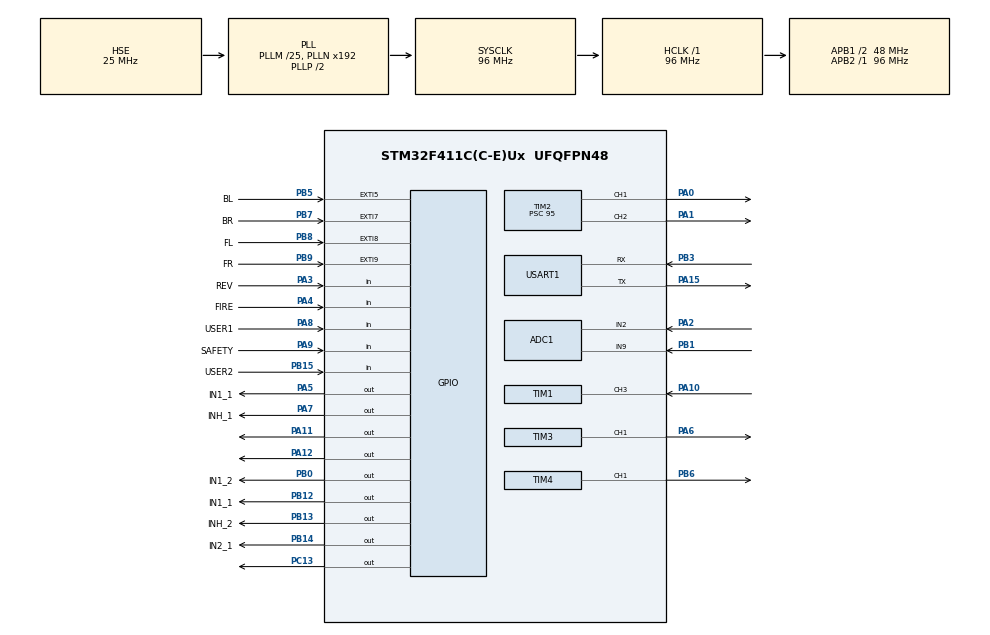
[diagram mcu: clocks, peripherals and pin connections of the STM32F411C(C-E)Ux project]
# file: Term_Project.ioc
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ADC1.Channel-0\#ChannelRegularConversion=ADC_CHANNEL_9
ADC1.ContinuousConvMode=ENABLE
ADC1.NbrOfConversion=1
ADC1.NbrOfConversionFlag=1
ADC1.ScanConvMode=ENABLE
ADC1.master=1
Dma.Request0=TIM3_CH1/TRIG
Dma.TIM3_CH1/TRIG.0.Direction=DMA_MEMORY_TO_PERIPH
Dma.TIM3_CH1/TRIG.0.FIFOMode=DMA_FIFOMODE_DISABLE
Dma.TIM3_CH1/TRIG.0.Instance=DMA1_Stream4
Dma.TIM3_CH1/TRIG.0.MemDataAlignment=DMA_MDATAALIGN_HALFWORD
Dma.TIM3_CH1/TRIG.0.MemInc=DMA_MINC_ENABLE
Dma.TIM3_CH1/TRIG.0.Mode=DMA_NORMAL
Dma.TIM3_CH1/TRIG.0.PeriphDataAlignment=DMA_PDATAALIGN_HALFWORD
Dma.TIM3_CH1/TRIG.0.PeriphInc=DMA_PINC_DISABLE
Dma.TIM3_CH1/TRIG.0.Priority=DMA_PRIORITY_LOW
Mcu.Family=STM32F4
Mcu.Name=STM32F411C(C-E)Ux
Mcu.Package=UFQFPN48
NVIC.DMA1_Stream4_IRQn=true\:0\:0\:false\:false\:true\:false\:true\:true
NVIC.EXTI9_5_IRQn=true\:0\:0\:false\:false\:true\:true\:true\:true
NVIC.PriorityGroup=NVIC_PRIORITYGROUP_4
NVIC.TIM1_CC_IRQn=true\:0\:0\:false\:false\:true\:true\:true\:true
PA0-WKUP.Signal=S_TIM2_CH1_ETR
PA1.Signal=S_TIM2_CH2
PA10.Signal=S_TIM1_CH3
PA11.PinState=GPIO_PIN_RESET
PA11.Signal=GPIO_Output
PA12.Signal=GPIO_Output
PA15.Mode=Asynchronous
PA15.Signal=USART1_TX
PA2.GPIO_Mode=GPIO_MODE_ANALOG
PA2.GPIO_PuPd=GPIO_NOPULL
PA2.Signal=ADCx_IN2
PA3.GPIO_Label=REV
PA3.GPIO_PuPd=GPIO_PULLUP
PA3.Signal=GPIO_Input
PA4.GPIO_Label=FIRE
PA4.GPIO_PuPd=GPIO_PULLUP
PA4.Signal=GPIO_Input
PA5.GPIO_Label=IN1_1
PA5.Signal=GPIO_Output
PA6.Signal=S_TIM3_CH1
PA7.GPIO_Label=INH_1
PA7.PinState=GPIO_PIN_RESET
PA7.Signal=GPIO_Output
PA8.GPIO_Label=USER1
PA8.GPIO_PuPd=GPIO_PULLUP
PA8.Signal=GPIO_Input
PA9.GPIO_Label=SAFETY
PA9.GPIO_PuPd=GPIO_PULLUP
PA9.Signal=GPIO_Input
PB0.GPIO_Label=IN1_2
PB0.Signal=GPIO_Output
PB1.GPIO_Mode=GPIO_MODE_ANALOG
PB1.GPIO_PuPd=GPIO_NOPULL
PB1.Signal=ADCx_IN9
PB12.GPIO_Label=IN1_1
PB12.Signal=GPIO_Output
PB13.GPIO_Label=INH_2
PB13.Signal=GPIO_Output
PB14.GPIO_Label=IN2_1
PB14.Signal=GPIO_Output
PB15.GPIO_Label=USER2
PB15.GPIO_PuPd=GPIO_PULLUP
PB15.Signal=GPIO_Input
PB3.Mode=Asynchronous
PB3.Signal=USART1_RX
PB5.GPIO_Label=BL
PB5.GPIO_ModeDefaultEXTI=GPIO_MODE_IT_FALLING
PB5.Signal=GPXTI5
PB6.Signal=S_TIM4_CH1
PB7.GPIO_Label=BR
PB7.GPIO_ModeDefaultEXTI=GPIO_MODE_IT_FALLING
PB7.GPIO_PuPd=GPIO_PULLUP
PB7.Signal=GPXTI7
PB8.GPIO_Label=FL
PB8.GPIO_ModeDefaultEXTI=GPIO_MODE_IT_FALLING
PB8.Signal=GPXTI8
PB9.GPIO_Label=FR
PB9.GPIO_ModeDefaultEXTI=GPIO_MODE_IT_FALLING
PB9.Signal=GPXTI9
PC13-ANTI_TAMP.Signal=GPIO_Output
PH0\ -\ OSC_IN.Mode=HSE-External-Oscillator
PH0\ -\ OSC_IN.Signal=RCC_OSC_IN
PH1\ -\ OSC_OUT.Mode=HSE-External-Oscillator
PH1\ -\ OSC_OUT.Signal=RCC_OSC_OUT
ProjectManager.HeapSize=0x200
ProjectManager.StackSize=0x400
ProjectManager.TargetToolchain=STM32CubeIDE
RCC.48MHZClocksFreq_Value=48000000
RCC.AHBFreq_Value=96000000
RCC.APB1CLKDivider=RCC_HCLK_DIV2
RCC.APB1Freq_Value=48000000
RCC.APB1TimFreq_Value=96000000
RCC.APB2Freq_Value=96000000
RCC.APB2TimFreq_Value=96000000
RCC.CortexFreq_Value=96000000
RCC.HCLKFreq_Value=96000000
RCC.HSE_VALUE=25000000
RCC.HSI_VALUE=16000000
RCC.LSE_VALUE=32768
RCC.PLLM=25
RCC.PLLSourceVirtual=RCC_PLLSOURCE_HSE
RCC.SYSCLKFreq_VALUE=96000000
RCC.SYSCLKSource=RCC_SYSCLKSOURCE_PLLCLK
RCC.VCOOutputFreq_Value=192000000
SH.ADCx_IN2.0=ADC1_IN2,IN2
SH.ADCx_IN9.0=ADC1_IN9,IN9
SH.S_TIM1_CH3.0=TIM1_CH3,Input_Capture3_from_TI3
SH.S_TIM2_CH1_ETR.0=TIM2_CH1,PWM Generation1 CH1
SH.S_TIM2_CH2.0=TIM2_CH2,PWM Generation2 CH2
SH.S_TIM3_CH1.0=TIM3_CH1,PWM Generation1 CH1
SH.S_TIM4_CH1.0=TIM4_CH1,PWM Generation1 CH1
TIM1.Channel-Input_Capture3_from_TI3=TIM_CHANNEL_3
TIM1.ICPolarity_CH3=TIM_INPUTCHANNELPOLARITY_BOTHEDGE
TIM1.Prescaler=95
TIM2.Channel-PWM\ Generation1\ CH1=TIM_CHANNEL_1
TIM2.Channel-PWM\ Generation2\ CH2=TIM_CHANNEL_2
TIM2.Period=19999
TIM2.Prescaler=95
TIM2.Pulse-PWM\ Generation1\ CH1=1999
TIM2.Pulse-PWM\ Generation2\ CH2=1999
TIM3.Channel-PWM\ Generation1\ CH1=TIM_CHANNEL_1
TIM3.Period=119
TIM4.Channel-PWM\ Generation1\ CH1=TIM_CHANNEL_1
USART1.VirtualMode=VM_ASYNC
VP_TIM2_VS_ClockSourceINT.Mode=Internal
board=custom

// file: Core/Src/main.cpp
/* USER CODE BEGIN Header */
/**
  ******************************************************************************
  * @file           : main.cpp
  * @brief          : Main program body
  ******************************************************************************
  * @attention
  *
  * Copyright (c) 2024 STMicroelectronics.
  * All rights reserved.
  *
  * This software is licensed under terms that can be found in the LICENSE file
  * in the root directory of this software component.
  * If no LICENSE file comes with this software, it is provided AS-IS.
  *
  ******************************************************************************
  */
/* USER CODE END Header */
#include "main.h"

/* USER CODE BEGIN Includes */
#include "string.h"
#include "stm32f4xx_hal.h"
#include "RCReceiver.h"
#include <cstdio>
/* USER CODE END Includes */

ADC_HandleTypeDef hadc1;

TIM_HandleTypeDef htim1;
TIM_HandleTypeDef htim2;
TIM_HandleTypeDef htim3;
TIM_HandleTypeDef htim4;
DMA_HandleTypeDef hdma_tim3_ch1_trig;

UART_HandleTypeDef huart1;

/* USER CODE BEGIN PV */

// LED variables
#define MAX_LED 12
#define USE_BRIGHTNESS 0
uint8_t LED_Data[MAX_LED][4];
uint8_t LED_Mod[MAX_LED][4];
uint16_t pwmData[(24*MAX_LED)+50];
volatile int datasentflag = 1;

// Motor variables
uint8_t startup = 0;
uint8_t rev_flag = 0;
uint16_t rev_tick = 0;

// Shoot variables
uint16_t dart_counter = 0;
uint16_t idx = 1;
uint8_t last_fired = 0;

// Mode variables
// Timer that updates every while loop iteration
uint16_t curr_tick;
// Handles trigger logic=
uint8_t trigger_tick = 0;
uint8_t trigger_flag = 0;
// Handles shooting logic
uint16_t shoot_flag = 0;
uint16_t shoot_state = 4; // Start in safety
uint16_t shoot_tick = 0;
// Handles mode selection
uint8_t mode_state = 0;
uint8_t mode_flag = 0;
uint16_t mode_tick = 0;
uint8_t left_state = 0;
uint8_t alt_state = 0;
uint8_t both_state = 0;
uint8_t right_state = 0;
// Timing for each solenoid
uint16_t left_tick;
uint16_t right_tick;

// ADC variables
uint16_t adc_value_9;
uint16_t adc_value_2;
uint16_t Fire_Rate;
uint16_t counts = 1600;

// User interface variables
// Handles type selection
uint8_t type = 0;
uint8_t type_tick = 0;
uint16_t type_list[] = {1,4,500}; // Dart capacities for each type
uint8_t type_flag = 0;

// RCReceiver object
RCReceiver receiver1(&htim1, TIM_CHANNEL_3);
int16_t signal1 = 1500;

// UART Message for Debugging
char msg[100];

// ADC Channel selection functions
/**
 * @brief Select ADC Channel 9
 */
static void ADC_Select_CH9(void) {
    ADC_ChannelConfTypeDef sConfig = {0};
    /**
     * Configure for the selected ADC regular channel its corresponding rank in the sequencer and its sample time.
     */
    sConfig.Channel = ADC_CHANNEL_9;
    sConfig.Rank = 1;
    sConfig.SamplingTime = ADC_SAMPLETIME_3CYCLES;
    if (HAL_ADC_ConfigChannel(&hadc1, &sConfig) != HAL_OK) {
        Error_Handler();
    }
}

/**
 * @brief Select ADC Channel 2
 */
static void ADC_Select_CH2(void) {
    ADC_ChannelConfTypeDef sConfig = {0};
    /**
     * Configure for the selected ADC regular channel its corresponding rank in the sequencer and its sample time.
     */
    sConfig.Channel = ADC_CHANNEL_2;
    sConfig.Rank = 1;
    sConfig.SamplingTime = ADC_SAMPLETIME_3CYCLES;
    if (HAL_ADC_ConfigChannel(&hadc1, &sConfig) != HAL_OK) {
        Error_Handler();
    }
}

/* USER CODE END PV */

void SystemClock_Config(void);
static void MX_GPIO_Init(void);
static void MX_DMA_Init(void);
static void MX_TIM2_Init(void);
static void MX_TIM3_Init(void);
static void MX_TIM4_Init(void);
static void MX_ADC1_Init(void);
static void MX_USART1_UART_Init(void);
static void MX_TIM1_Init(void);

int main(void)
{

  /* MCU Configuration--------------------------------------------------------*/

  /* Reset of all peripherals, Initializes the Flash interface and the Systick. */
  HAL_Init();

  /* Configure the system clock */
  SystemClock_Config();

  /* Initialize all configured peripherals */
  MX_GPIO_Init();
  MX_DMA_Init();
  MX_TIM2_Init();
  MX_TIM3_Init();
  MX_TIM4_Init();
  MX_ADC1_Init();
  MX_USART1_UART_Init();
  MX_TIM1_Init();
  /* USER CODE BEGIN 2 */

  // Initializations
  HAL_TIM_PWM_Start(&htim2,TIM_CHANNEL_1);
  HAL_TIM_PWM_Start(&htim2,TIM_CHANNEL_2);
  HAL_TIM_PWM_Start(&htim4,TIM_CHANNEL_1);
  HAL_TIM_IC_Start_IT(&htim1, TIM_CHANNEL_3);
  HAL_ADC_Start(&hadc1);
  HAL_ADC_Init(&hadc1);

  // Set the solenoid pin states
  HAL_GPIO_WritePin(GPIOA,GPIO_PIN_5,GPIO_PIN_SET);
  HAL_GPIO_WritePin(GPIOB,GPIO_PIN_0,GPIO_PIN_RESET);
  HAL_GPIO_WritePin(GPIOB,GPIO_PIN_14,GPIO_PIN_SET);
  HAL_GPIO_WritePin(GPIOB,GPIO_PIN_12,GPIO_PIN_RESET);

  // Disable solenoids to start
  HAL_GPIO_WritePin(GPIOA,GPIO_PIN_7,GPIO_PIN_RESET);
  HAL_GPIO_WritePin(GPIOB,GPIO_PIN_13,GPIO_PIN_RESET);

  // Initialize LEDs in safety mode
  LED_Safety(mode_state,type);

  /* USER CODE END 2 */

  /* Infinite loop */
  while (1) {

    /* USER CODE BEGIN 3 */

	  // Get time elapsed every loop
	  curr_tick = HAL_GetTick();

//	  // UART debugging
//	  snprintf(msg, sizeof(msg), "BL: %i BR: %i FL: %i FR: %i  \n\r",!HAL_GPIO_ReadPin(GPIOB,GPIO_PIN_5), !HAL_GPIO_ReadPin(GPIOB,GPIO_PIN_7),
//			  	  	  	  	  	  	  	  	  	  	  	  	  	  	  	  	  	   !HAL_GPIO_ReadPin(GPIOB,GPIO_PIN_8), !HAL_GPIO_ReadPin(GPIOB,GPIO_PIN_9));
//	  HAL_UART_Transmit(&huart1, (uint8_t*)msg, 100,500);
//	  memset(msg,0, sizeof msg);

	  // ESC Startup Procedure
	  if (!startup) {
		  __HAL_TIM_SET_COMPARE(&htim2,TIM_CHANNEL_1, 1000);
		  __HAL_TIM_SET_COMPARE(&htim2,TIM_CHANNEL_2, 1000);
		  HAL_Delay(3000);

		  startup = 1;
	  }

	  // Rev Trigger Logic
	  if (HAL_GPIO_ReadPin(GPIOA,GPIO_PIN_4) && (HAL_GPIO_ReadPin(GPIOA,GPIO_PIN_9) && !(shoot_state == 4))){
		  // Rev the motors
		  		__HAL_TIM_SET_COMPARE(&htim2,TIM_CHANNEL_1, counts);
		  		__HAL_TIM_SET_COMPARE(&htim2,TIM_CHANNEL_2, counts);
	  }

	  else{
		  __HAL_TIM_SET_COMPARE(&htim2,TIM_CHANNEL_1, 1000);
		  __HAL_TIM_SET_COMPARE(&htim2,TIM_CHANNEL_2, 1000);
	  }

	  // Setting Types (Single, Burst, Auto)
	  if (!HAL_GPIO_ReadPin(GPIOA,GPIO_PIN_8) && type_flag == 0 && HAL_GPIO_ReadPin(GPIOA,GPIO_PIN_9)) {
		  type_flag = 1;
		  type_tick = curr_tick;
		  type++;
		  set_LED_states(mode_state, type);
		  idx = type_list[type%3];

		  }
	  else if(HAL_GPIO_ReadPin(GPIOA,GPIO_PIN_8) && (curr_tick - type_tick) > 250 && type_flag ==1){ //
		  type_flag = 0;

	  }

	  // Setting Modes (L, Both, Alt, R)
	  if (!HAL_GPIO_ReadPin(GPIOB,GPIO_PIN_15) && mode_flag == 0 && HAL_GPIO_ReadPin(GPIOA,GPIO_PIN_9)) {
		  mode_flag = 1;
		  mode_tick = curr_tick;

		  if (mode_state == 3){
			  mode_state = 0;
		  }
		  else{
			  mode_state++;
		  }
		  set_LED_states(mode_state, type);
		  }
	  else if(HAL_GPIO_ReadPin(GPIOB,GPIO_PIN_15) && (curr_tick - mode_tick) > 250 && mode_flag == 1){
		  mode_flag = 0;
	  }

	  // Trigger State Machine
	  // Off state
	  if (shoot_state == 0){
		  if (!HAL_GPIO_ReadPin(GPIOA,GPIO_PIN_9)){
			  shoot_state = 4;
			  LED_Safety(mode_state, type);
		  }
		  if (!HAL_GPIO_ReadPin(GPIOA,GPIO_PIN_3) && HAL_GPIO_ReadPin(GPIOA,GPIO_PIN_9)){
			shoot_state = 1;
			shoot_flag = 1;
			shoot_tick = curr_tick;
		  }
	  }

	  // Rising Edge State
	  else if(shoot_state == 1){
		  if (!HAL_GPIO_ReadPin(GPIOA,GPIO_PIN_9)){
			  shoot_state = 4;
			  LED_Safety(mode_state, type);
		  }
		  else if (curr_tick - shoot_tick > 10){
			  shoot_state = 2;
		  }
	  }

	  // On state
	  else if(shoot_state == 2){
		  if (!HAL_GPIO_ReadPin(GPIOA,GPIO_PIN_9)){
			  shoot_state = 4;
			  LED_Safety(mode_state, type);
		  }
		  else if (HAL_GPIO_ReadPin(GPIOA,GPIO_PIN_3)){
			  shoot_state = 3;
			  shoot_flag = 0;
			  shoot_tick = curr_tick;
		  }
	  }
	  // Falling Edge state
	  else if(shoot_state == 3) {
		  if (!HAL_GPIO_ReadPin(GPIOA,GPIO_PIN_9)){
			  shoot_state = 4;
			  LED_Safety(mode_state, type);
		  }
		  else if (curr_tick - shoot_tick > 10){
			  shoot_state = 0;
			  rev_tick = curr_tick;
		  }
	  }
	  // Safety State
	  else if(shoot_state == 4){
		  shoot_flag = 0;
		  __HAL_TIM_SET_COMPARE(&htim2,TIM_CHANNEL_1, 1000);
		  __HAL_TIM_SET_COMPARE(&htim2,TIM_CHANNEL_2, 1000);
		  HAL_GPIO_WritePin(GPIOB,GPIO_PIN_13, GPIO_PIN_RESET);
		  HAL_GPIO_WritePin(GPIOA,GPIO_PIN_7, GPIO_PIN_RESET);
		  if (HAL_GPIO_ReadPin(GPIOA,GPIO_PIN_9) && HAL_GPIO_ReadPin(GPIOA,GPIO_PIN_3) && (signal1 < 1600 && signal1 > 1400)){
			  shoot_state = 0;
			  set_LED_states(mode_state, type);
		  }

	  }

	  // Fire Trigger Logic
	  if (shoot_flag){

		  // Left State
		  if (mode_state == 0){

			  if (left_state == 0){
				  left_tick = curr_tick;
				  left_state = 1;

			  }
			  else if(left_state == 1){

				  if ((dart_counter < idx) && !HAL_GPIO_ReadPin(GPIOB,GPIO_PIN_5)
						  && ((curr_tick - left_tick) > Fire_Rate+10)){
					  HAL_GPIO_WritePin(GPIOB,GPIO_PIN_13, GPIO_PIN_SET);
					  left_tick = curr_tick;
					  dart_counter += 1;
				  }
				  else if (!HAL_GPIO_ReadPin(GPIOB,GPIO_PIN_8)){
					  HAL_GPIO_WritePin(GPIOB,GPIO_PIN_13, GPIO_PIN_RESET);

				  }
			  }
		  }

		  // Alt State
		  else if (mode_state == 1){
			  if (alt_state == 0){
				  left_tick = curr_tick;
				  right_tick = curr_tick;
				  if (last_fired == 0) {
						  alt_state = 1;
					  }

				  else{
						  alt_state = 2;
					  }

			  }

			  else if (alt_state == 1){

				  HAL_GPIO_WritePin(GPIOB,GPIO_PIN_13, GPIO_PIN_SET);
				  HAL_GPIO_WritePin(GPIOA,GPIO_PIN_7, GPIO_PIN_RESET);
				  last_fired = 1;

				  if (!HAL_GPIO_ReadPin(GPIOB,GPIO_PIN_8) && !HAL_GPIO_ReadPin(GPIOB,GPIO_PIN_7) && (curr_tick-left_tick > Fire_Rate)){
					  dart_counter++;

					  if (dart_counter == idx){
						  alt_state = 3;
					  }
					  else{
					  alt_state = 2;
					  right_tick = curr_tick;

					  }
				  }

			  }

			  else if (alt_state == 2){
				  HAL_GPIO_WritePin(GPIOA,GPIO_PIN_7, GPIO_PIN_SET);
				  HAL_GPIO_WritePin(GPIOB,GPIO_PIN_13, GPIO_PIN_RESET);
				  last_fired = 0;

				  if (!HAL_GPIO_ReadPin(GPIOB,GPIO_PIN_5) && !HAL_GPIO_ReadPin(GPIOB,GPIO_PIN_9) && (curr_tick - right_tick > Fire_Rate)){
					  dart_counter ++;

					  if (dart_counter == idx){
						  alt_state = 3;
					  }
					  else{
					  alt_state = 1;
					  left_tick = curr_tick;
					  }
				  }

			  }

			  else if (alt_state == 3){
				  HAL_GPIO_WritePin(GPIOA,GPIO_PIN_7, GPIO_PIN_RESET);
				  HAL_GPIO_WritePin(GPIOB,GPIO_PIN_13, GPIO_PIN_RESET);

			  }

		  }

		  // Both State
		  else if (mode_state == 2){

			  if (both_state == 0){
				  left_tick = curr_tick;
				  both_state = 1;

			  }

			  else if (both_state == 1){

				  if (dart_counter < (idx) && !HAL_GPIO_ReadPin(GPIOB,GPIO_PIN_7)
					  && !HAL_GPIO_ReadPin(GPIOB,GPIO_PIN_5) && (curr_tick-left_tick) > (Fire_Rate+10)){
					  HAL_GPIO_WritePin(GPIOA,GPIO_PIN_7, GPIO_PIN_SET);
					  HAL_GPIO_WritePin(GPIOB,GPIO_PIN_13, GPIO_PIN_SET);
					  left_tick = curr_tick;
					  dart_counter += 2;
				  }

				  else if (!HAL_GPIO_ReadPin(GPIOB,GPIO_PIN_9) && !HAL_GPIO_ReadPin(GPIOB,GPIO_PIN_8)){
					  HAL_GPIO_WritePin(GPIOA,GPIO_PIN_7, GPIO_PIN_RESET);
					  HAL_GPIO_WritePin(GPIOB,GPIO_PIN_13, GPIO_PIN_RESET);
				  }
			  }
		  }

		  // Right
		  else if (mode_state == 3){

			  if (right_state == 0){
				  right_tick = curr_tick;
				  right_state = 1;
			  }

			  else if (right_state == 1){

				  if ((dart_counter < idx) &&!HAL_GPIO_ReadPin(GPIOB,GPIO_PIN_7) && (curr_tick - right_tick) > Fire_Rate+10){
					  HAL_GPIO_WritePin(GPIOA,GPIO_PIN_7, GPIO_PIN_SET);
					  right_tick = curr_tick;
					  dart_counter += 1;
				  }
				  else if (!HAL_GPIO_ReadPin(GPIOB,GPIO_PIN_9)){
					  HAL_GPIO_WritePin(GPIOA,GPIO_PIN_7, GPIO_PIN_RESET);

				  }
			  }
		  }
	  }

	  else{

		  HAL_GPIO_WritePin(GPIOA,GPIO_PIN_7, GPIO_PIN_RESET);
		  HAL_GPIO_WritePin(GPIOB,GPIO_PIN_13, GPIO_PIN_RESET);
		  dart_counter = 0;
		  alt_state = 0;
		  both_state = 0;
		  left_state = 0;
		  right_state = 0;

		  ADC_Select_CH2();
		  HAL_ADC_Start(&hadc1);
		  HAL_ADC_PollForConversion(&hadc1,50);
		  adc_value_2 = HAL_ADC_GetValue(&hadc1); // Right POT
		  HAL_ADC_Stop(&hadc1);

		  counts = adc_value_2*(1500-1000)/(4096 - 0) + 1000;

		  ADC_Select_CH9();
		  HAL_ADC_Start(&hadc1);
		  HAL_ADC_PollForConversion(&hadc1,50);
		  adc_value_9 = HAL_ADC_GetValue(&hadc1); // Left POT
		  HAL_ADC_Stop(&hadc1);

		  Fire_Rate = (4096-adc_value_9)*100/4096;

	  }

  }
  /* USER CODE END 3 */
}

void SystemClock_Config(void)
{
  RCC_OscInitTypeDef RCC_OscInitStruct = {0};
  RCC_ClkInitTypeDef RCC_ClkInitStruct = {0};

  /** Configure the main internal regulator output voltage
  */
  __HAL_RCC_PWR_CLK_ENABLE();
  __HAL_PWR_VOLTAGESCALING_CONFIG(PWR_REGULATOR_VOLTAGE_SCALE1);

  /** Initializes the RCC Oscillators according to the specified parameters
  * in the RCC_OscInitTypeDef structure.
  */
  RCC_OscInitStruct.OscillatorType = RCC_OSCILLATORTYPE_HSE;
  RCC_OscInitStruct.HSEState = RCC_HSE_ON;
  RCC_OscInitStruct.PLL.PLLState = RCC_PLL_ON;
  RCC_OscInitStruct.PLL.PLLSource = RCC_PLLSOURCE_HSE;
  RCC_OscInitStruct.PLL.PLLM = 25;
  RCC_OscInitStruct.PLL.PLLN = 192;
  RCC_OscInitStruct.PLL.PLLP = RCC_PLLP_DIV2;
  RCC_OscInitStruct.PLL.PLLQ = 4;
  if (HAL_RCC_OscConfig(&RCC_OscInitStruct) != HAL_OK)
  {
    Error_Handler();
  }

  /** Initializes the CPU, AHB and APB buses clocks
  */
  RCC_ClkInitStruct.ClockType = RCC_CLOCKTYPE_HCLK|RCC_CLOCKTYPE_SYSCLK
                              |RCC_CLOCKTYPE_PCLK1|RCC_CLOCKTYPE_PCLK2;
  RCC_ClkInitStruct.SYSCLKSource = RCC_SYSCLKSOURCE_PLLCLK;
  RCC_ClkInitStruct.AHBCLKDivider = RCC_SYSCLK_DIV1;
  RCC_ClkInitStruct.APB1CLKDivider = RCC_HCLK_DIV2;
  RCC_ClkInitStruct.APB2CLKDivider = RCC_HCLK_DIV1;

  if (HAL_RCC_ClockConfig(&RCC_ClkInitStruct, FLASH_LATENCY_3) != HAL_OK)
  {
    Error_Handler();
  }
}

static void MX_ADC1_Init(void)
{

  ADC_ChannelConfTypeDef sConfig = {0};

  /** Configure the global features of the ADC (Clock, Resolution, Data Alignment and number of conversion)
  */
  hadc1.Instance = ADC1;
  hadc1.Init.ClockPrescaler = ADC_CLOCK_SYNC_PCLK_DIV4;
  hadc1.Init.Resolution = ADC_RESOLUTION_12B;
  hadc1.Init.ScanConvMode = ENABLE;
  hadc1.Init.ContinuousConvMode = ENABLE;
  hadc1.Init.DiscontinuousConvMode = DISABLE;
  hadc1.Init.ExternalTrigConvEdge = ADC_EXTERNALTRIGCONVEDGE_NONE;
  hadc1.Init.ExternalTrigConv = ADC_SOFTWARE_START;
  hadc1.Init.DataAlign = ADC_DATAALIGN_RIGHT;
  hadc1.Init.NbrOfConversion = 1;
  hadc1.Init.DMAContinuousRequests = DISABLE;
  hadc1.Init.EOCSelection = ADC_EOC_SINGLE_CONV;
  if (HAL_ADC_Init(&hadc1) != HAL_OK)
  {
    Error_Handler();
  }

  /** Configure for the selected ADC regular channel its corresponding rank in the sequencer and its sample time.
  */
  sConfig.Channel = ADC_CHANNEL_9;
  sConfig.Rank = 1;
  sConfig.SamplingTime = ADC_SAMPLETIME_3CYCLES;
  if (HAL_ADC_ConfigChannel(&hadc1, &sConfig) != HAL_OK)
  {
    Error_Handler();
  }

}

static void MX_TIM1_Init(void)
{

  TIM_MasterConfigTypeDef sMasterConfig = {0};
  TIM_IC_InitTypeDef sConfigIC = {0};

  htim1.Instance = TIM1;
  htim1.Init.Prescaler = 95;
  htim1.Init.CounterMode = TIM_COUNTERMODE_UP;
  htim1.Init.Period = 65535;
  htim1.Init.ClockDivision = TIM_CLOCKDIVISION_DIV1;
  htim1.Init.RepetitionCounter = 0;
  htim1.Init.AutoReloadPreload = TIM_AUTORELOAD_PRELOAD_DISABLE;
  if (HAL_TIM_IC_Init(&htim1) != HAL_OK)
  {
    Error_Handler();
  }
  sMasterConfig.MasterOutputTrigger = TIM_TRGO_RESET;
  sMasterConfig.MasterSlaveMode = TIM_MASTERSLAVEMODE_DISABLE;
  if (HAL_TIMEx_MasterConfigSynchronization(&htim1, &sMasterConfig) != HAL_OK)
  {
    Error_Handler();
  }
  sConfigIC.ICPolarity = TIM_INPUTCHANNELPOLARITY_BOTHEDGE;
  sConfigIC.ICSelection = TIM_ICSELECTION_DIRECTTI;
  sConfigIC.ICPrescaler = TIM_ICPSC_DIV1;
  sConfigIC.ICFilter = 0;
  if (HAL_TIM_IC_ConfigChannel(&htim1, &sConfigIC, TIM_CHANNEL_3) != HAL_OK)
  {
    Error_Handler();
  }

}

static void MX_TIM2_Init(void)
{

  TIM_ClockConfigTypeDef sClockSourceConfig = {0};
  TIM_MasterConfigTypeDef sMasterConfig = {0};
  TIM_OC_InitTypeDef sConfigOC = {0};

  htim2.Instance = TIM2;
  htim2.Init.Prescaler = 95;
  htim2.Init.CounterMode = TIM_COUNTERMODE_UP;
  htim2.Init.Period = 19999;
  htim2.Init.ClockDivision = TIM_CLOCKDIVISION_DIV1;
  htim2.Init.AutoReloadPreload = TIM_AUTORELOAD_PRELOAD_DISABLE;
  if (HAL_TIM_Base_Init(&htim2) != HAL_OK)
  {
    Error_Handler();
  }
  sClockSourceConfig.ClockSource = TIM_CLOCKSOURCE_INTERNAL;
  if (HAL_TIM_ConfigClockSource(&htim2, &sClockSourceConfig) != HAL_OK)
  {
    Error_Handler();
  }
  if (HAL_TIM_PWM_Init(&htim2) != HAL_OK)
  {
    Error_Handler();
  }
  sMasterConfig.MasterOutputTrigger = TIM_TRGO_RESET;
  sMasterConfig.MasterSlaveMode = TIM_MASTERSLAVEMODE_DISABLE;
  if (HAL_TIMEx_MasterConfigSynchronization(&htim2, &sMasterConfig) != HAL_OK)
  {
    Error_Handler();
  }
  sConfigOC.OCMode = TIM_OCMODE_PWM1;
  sConfigOC.Pulse = 1999;
  sConfigOC.OCPolarity = TIM_OCPOLARITY_HIGH;
  sConfigOC.OCFastMode = TIM_OCFAST_DISABLE;
  if (HAL_TIM_PWM_ConfigChannel(&htim2, &sConfigOC, TIM_CHANNEL_1) != HAL_OK)
  {
    Error_Handler();
  }
  if (HAL_TIM_PWM_ConfigChannel(&htim2, &sConfigOC, TIM_CHANNEL_2) != HAL_OK)
  {
    Error_Handler();
  }
  HAL_TIM_MspPostInit(&htim2);

}

static void MX_TIM3_Init(void)
{

  TIM_MasterConfigTypeDef sMasterConfig = {0};
  TIM_OC_InitTypeDef sConfigOC = {0};

  htim3.Instance = TIM3;
  htim3.Init.Prescaler = 0;
  htim3.Init.CounterMode = TIM_COUNTERMODE_UP;
  htim3.Init.Period = 119;
  htim3.Init.ClockDivision = TIM_CLOCKDIVISION_DIV1;
  htim3.Init.AutoReloadPreload = TIM_AUTORELOAD_PRELOAD_DISABLE;
  if (HAL_TIM_PWM_Init(&htim3) != HAL_OK)
  {
    Error_Handler();
  }
  sMasterConfig.MasterOutputTrigger = TIM_TRGO_RESET;
  sMasterConfig.MasterSlaveMode = TIM_MASTERSLAVEMODE_DISABLE;
  if (HAL_TIMEx_MasterConfigSynchronization(&htim3, &sMasterConfig) != HAL_OK)
  {
    Error_Handler();
  }
  sConfigOC.OCMode = TIM_OCMODE_PWM1;
  sConfigOC.Pulse = 0;
  sConfigOC.OCPolarity = TIM_OCPOLARITY_HIGH;
  sConfigOC.OCFastMode = TIM_OCFAST_DISABLE;
  if (HAL_TIM_PWM_ConfigChannel(&htim3, &sConfigOC, TIM_CHANNEL_1) != HAL_OK)
  {
    Error_Handler();
  }
  HAL_TIM_MspPostInit(&htim3);

}

static void MX_TIM4_Init(void)
{

  TIM_MasterConfigTypeDef sMasterConfig = {0};
  TIM_OC_InitTypeDef sConfigOC = {0};

  htim4.Instance = TIM4;
  htim4.Init.Prescaler = 0;
  htim4.Init.CounterMode = TIM_COUNTERMODE_UP;
  htim4.Init.Period = 65535;
  htim4.Init.ClockDivision = TIM_CLOCKDIVISION_DIV1;
  htim4.Init.AutoReloadPreload = TIM_AUTORELOAD_PRELOAD_DISABLE;
  if (HAL_TIM_PWM_Init(&htim4) != HAL_OK)
  {
    Error_Handler();
  }
  sMasterConfig.MasterOutputTrigger = TIM_TRGO_RESET;
  sMasterConfig.MasterSlaveMode = TIM_MASTERSLAVEMODE_DISABLE;
  if (HAL_TIMEx_MasterConfigSynchronization(&htim4, &sMasterConfig) != HAL_OK)
  {
    Error_Handler();
  }
  sConfigOC.OCMode = TIM_OCMODE_PWM1;
  sConfigOC.Pulse = 0;
  sConfigOC.OCPolarity = TIM_OCPOLARITY_HIGH;
  sConfigOC.OCFastMode = TIM_OCFAST_DISABLE;
  if (HAL_TIM_PWM_ConfigChannel(&htim4, &sConfigOC, TIM_CHANNEL_1) != HAL_OK)
  {
    Error_Handler();
  }
  HAL_TIM_MspPostInit(&htim4);

}

static void MX_USART1_UART_Init(void)
{

  huart1.Instance = USART1;
  huart1.Init.BaudRate = 115200;
  huart1.Init.WordLength = UART_WORDLENGTH_8B;
  huart1.Init.StopBits = UART_STOPBITS_1;
  huart1.Init.Parity = UART_PARITY_NONE;
  huart1.Init.Mode = UART_MODE_TX_RX;
  huart1.Init.HwFlowCtl = UART_HWCONTROL_NONE;
  huart1.Init.OverSampling = UART_OVERSAMPLING_16;
  if (HAL_UART_Init(&huart1) != HAL_OK)
  {
    Error_Handler();
  }

}

static void MX_DMA_Init(void)
{

  /* DMA controller clock enable */
  __HAL_RCC_DMA1_CLK_ENABLE();

  /* DMA interrupt init */
  /* DMA1_Stream4_IRQn interrupt configuration */
  HAL_NVIC_SetPriority(DMA1_Stream4_IRQn, 0, 0);
  HAL_NVIC_EnableIRQ(DMA1_Stream4_IRQn);

}

static void MX_GPIO_Init(void)
{
  GPIO_InitTypeDef GPIO_InitStruct = {0};

  /* GPIO Ports Clock Enable */
  __HAL_RCC_GPIOC_CLK_ENABLE();
  __HAL_RCC_GPIOH_CLK_ENABLE();
  __HAL_RCC_GPIOA_CLK_ENABLE();
  __HAL_RCC_GPIOB_CLK_ENABLE();

  /*Configure GPIO pin Output Level */
  HAL_GPIO_WritePin(GPIOC, GPIO_PIN_13, GPIO_PIN_RESET);

  /*Configure GPIO pin Output Level */
  HAL_GPIO_WritePin(GPIOA, IN1_1_Pin|INH_1_Pin|GPIO_PIN_11|GPIO_PIN_12, GPIO_PIN_RESET);

  /*Configure GPIO pin Output Level */
  HAL_GPIO_WritePin(GPIOB, IN1_2_Pin|IN1_1B12_Pin|INH_2_Pin|IN2_1_Pin, GPIO_PIN_RESET);

  /*Configure GPIO pin : PC13 */
  GPIO_InitStruct.Pin = GPIO_PIN_13;
  GPIO_InitStruct.Mode = GPIO_MODE_OUTPUT_PP;
  GPIO_InitStruct.Pull = GPIO_NOPULL;
  GPIO_InitStruct.Speed = GPIO_SPEED_FREQ_LOW;
  HAL_GPIO_Init(GPIOC, &GPIO_InitStruct);

  /*Configure GPIO pins : REV_Pin FIRE_Pin USER1_Pin SAFETY_Pin */
  GPIO_InitStruct.Pin = REV_Pin|FIRE_Pin|USER1_Pin|SAFETY_Pin;
  GPIO_InitStruct.Mode = GPIO_MODE_INPUT;
  GPIO_InitStruct.Pull = GPIO_PULLUP;
  HAL_GPIO_Init(GPIOA, &GPIO_InitStruct);

  /*Configure GPIO pins : IN1_1_Pin INH_1_Pin PA11 PA12 */
  GPIO_InitStruct.Pin = IN1_1_Pin|INH_1_Pin|GPIO_PIN_11|GPIO_PIN_12;
  GPIO_InitStruct.Mode = GPIO_MODE_OUTPUT_PP;
  GPIO_InitStruct.Pull = GPIO_NOPULL;
  GPIO_InitStruct.Speed = GPIO_SPEED_FREQ_LOW;
  HAL_GPIO_Init(GPIOA, &GPIO_InitStruct);

  /*Configure GPIO pins : IN1_2_Pin IN1_1B12_Pin INH_2_Pin IN2_1_Pin */
  GPIO_InitStruct.Pin = IN1_2_Pin|IN1_1B12_Pin|INH_2_Pin|IN2_1_Pin;
  GPIO_InitStruct.Mode = GPIO_MODE_OUTPUT_PP;
  GPIO_InitStruct.Pull = GPIO_NOPULL;
  GPIO_InitStruct.Speed = GPIO_SPEED_FREQ_LOW;
  HAL_GPIO_Init(GPIOB, &GPIO_InitStruct);

  /*Configure GPIO pin : USER2_Pin */
  GPIO_InitStruct.Pin = USER2_Pin;
  GPIO_InitStruct.Mode = GPIO_MODE_INPUT;
  GPIO_InitStruct.Pull = GPIO_PULLUP;
  HAL_GPIO_Init(USER2_GPIO_Port, &GPIO_InitStruct);

  /*Configure GPIO pins : BL_Pin FL_Pin FR_Pin */
  GPIO_InitStruct.Pin = BL_Pin|FL_Pin|FR_Pin;
  GPIO_InitStruct.Mode = GPIO_MODE_IT_FALLING;
  GPIO_InitStruct.Pull = GPIO_NOPULL;
  HAL_GPIO_Init(GPIOB, &GPIO_InitStruct);

  /*Configure GPIO pin : BR_Pin */
  GPIO_InitStruct.Pin = BR_Pin;
  GPIO_InitStruct.Mode = GPIO_MODE_IT_FALLING;
  GPIO_InitStruct.Pull = GPIO_PULLUP;
  HAL_GPIO_Init(BR_GPIO_Port, &GPIO_InitStruct);

  /* EXTI interrupt init*/
  HAL_NVIC_SetPriority(EXTI9_5_IRQn, 0, 0);
  HAL_NVIC_EnableIRQ(EXTI9_5_IRQn);

}

/* USER CODE BEGIN 4 */

/**
 * @brief Timer Input Capture Callback
 * @param htim Pointer to the TIM handle
 */
void HAL_TIM_IC_CaptureCallback(TIM_HandleTypeDef *htim) {
    if (htim->Channel == HAL_TIM_ACTIVE_CHANNEL_3) {
        receiver1.trigger_signal();
    }
}

/**
 * @brief Set the color of an LED
 * @param LEDnum The LED number to set
 * @param Red Red color intensity (0-255)
 * @param Green Green color intensity (0-255)
 * @param Blue Blue color intensity (0-255)
 */
void Set_LED(int LEDnum, int Red, int Green, int Blue) {
    LED_Data[LEDnum][0] = LEDnum;
    LED_Data[LEDnum][1] = Green;
    LED_Data[LEDnum][2] = Red;
    LED_Data[LEDnum][3] = Blue;
}

/**
 * @brief Clear all LEDs
 */
void clear_LEDs(void) {
    for (int i = 0; i < MAX_LED; i++) {
        Set_LED(i, 0, 0, 0);
    }
}

/**
 * @brief Set the LED states based on mode and light type
 * @param mode The mode to set
 * @param lgtype The light type
 */
void set_LED_states(int mode, int lgtype) {
    // Mode Selection
    int r1 = 63;
    int g1 = 63;
    int b1 = 63;
    // Background

    // Orange
    int r2 = 77;
    int g2 = 30;
    int b2 = 5;

    // determine which fire type is active (single, burst, auto)
    int firetype = lgtype % 3;

    // LED matrix follows an S pattern starting from right to left
    // Must do some funky conversion to match the firemode/type grid on the blaster

    clear_LEDs();

    // Row 1
    if (firetype == 0) {
        for (int i = 0; i < 4; i++) {
            Set_LED(3 - i, r2, g2, b2);
        }

        Set_LED(3 - mode, r1, g1, b1);

        Set_LED(4 + mode, r2, g2, b2);
        Set_LED(11 - mode, r2, g2, b2);

    } else if (firetype == 1) {
        // Row 2
        for (int i = 0; i < 4; i++) {
            Set_LED(4 + i, r2, g2, b2);
        }

        Set_LED(4 + mode, r1, g1, b1);

        Set_LED(3 - mode, r2, g2, b2);
        Set_LED(11 - mode, r2, g2, b2);

    } else if (firetype == 2) {
        // Row 3
        for (int i = 0; i < 4; i++) {
            Set_LED(11 - i, r2, g2, b2);
        }

        Set_LED(11 - mode, r1, g1, b1);

        Set_LED(4 + mode, r2, g2, b2);
        Set_LED(3 - mode, r2, g2, b2);
    }

    WS2812_Send();
}

#define PI 3.14159265

/**
 * @brief Set the brightness of the LEDs
 * @param brightness Brightness level (0-45)
 */
void Set_Brightness(int brightness) {
    #if USE_BRIGHTNESS

    if (brightness > 45) brightness = 45;
    for (int i = 0; i < MAX_LED; i++) {
        LED_Mod[i][0] = LED_Data[i][0];
        for (int j = 1; j < 4; j++) {
            float angle = 90 - brightness;  // in degrees
            angle = angle * PI / 180;  // in rad
            LED_Mod[i][j] = (LED_Data[i][j]) / (tan(angle));
        }
    }

    #endif
}

/**
 * @brief Set the LEDs to safety mode based on mode and light type
 * @param mode The mode to set
 * @param lgtype The light type
 */
void LED_Safety(int mode, int lgtype) {
    int firetype = lgtype % 3;
    int r2 = 63;
    int g2 = 0;
    int b2 = 0;

    if (firetype == 0) {
        for (int i = 0; i < 4; i++) {
            Set_LED(3 - i, r2, g2, b2);
        }

        Set_LED(4 + mode, r2, g2, b2);
        Set_LED(11 - mode, r2, g2, b2);

    } else if (firetype == 1) {
        // Row 2
        for (int i = 0; i < 4; i++) {
            Set_LED(4 + i, r2, g2, b2);
        }

        Set_LED(3 - mode, r2, g2, b2);
        Set_LED(11 - mode, r2, g2, b2);

    } else if (firetype == 2) {
        // Row 3
        for (int i = 0; i < 4; i++) {
            Set_LED(11 - i, r2, g2, b2);
        }

        Set_LED(4 + mode, r2, g2, b2);
        Set_LED(3 - mode, r2, g2, b2);
    }

    WS2812_Send();
}

/**
 * @brief Send the LED data to the WS2812 LEDs
 */
void WS2812_Send(void) {
    uint32_t indx = 0;
    uint32_t color;

    for (int i = 0; i < MAX_LED; i++) {
        #if USE_BRIGHTNESS
        color = ((LED_Mod[i][1] << 16) | (LED_Mod[i][2] << 8) | (LED_Mod[i][3]));
        #else
        color = ((LED_Data[i][1] << 16) | (LED_Data[i][2] << 8) | (LED_Data[i][3]));
        #endif

        for (int i = 23; i >= 0; i--) {
            if (color & (1 << i)) {
                pwmData[indx] = 80;  // 2/3 of 120
            } else {
                pwmData[indx] = 40;  // 1/3 of 120
            }
            indx++;
        }
    }

    for (int i = 0; i < 50; i++) {
        pwmData[indx] = 0;
        indx++;
    }

    HAL_TIM_PWM_Start_DMA(&htim3, TIM_CHANNEL_1, (uint32_t *)pwmData, indx);
    while (!datasentflag) {};
    datasentflag = 0;
}

/**
 * @brief Timer PWM Pulse Finished Callback
 * @param htim Pointer to the TIM handle
 */
void HAL_TIM_PWM_PulseFinishedCallback(TIM_HandleTypeDef *htim) {
    HAL_TIM_PWM_Stop_DMA(&htim3, TIM_CHANNEL_1);
    datasentflag = 1;
}

/* USER CODE END 4 */

void Error_Handler(void)
{
  __disable_irq();
  while (1)
  {
  }
}
